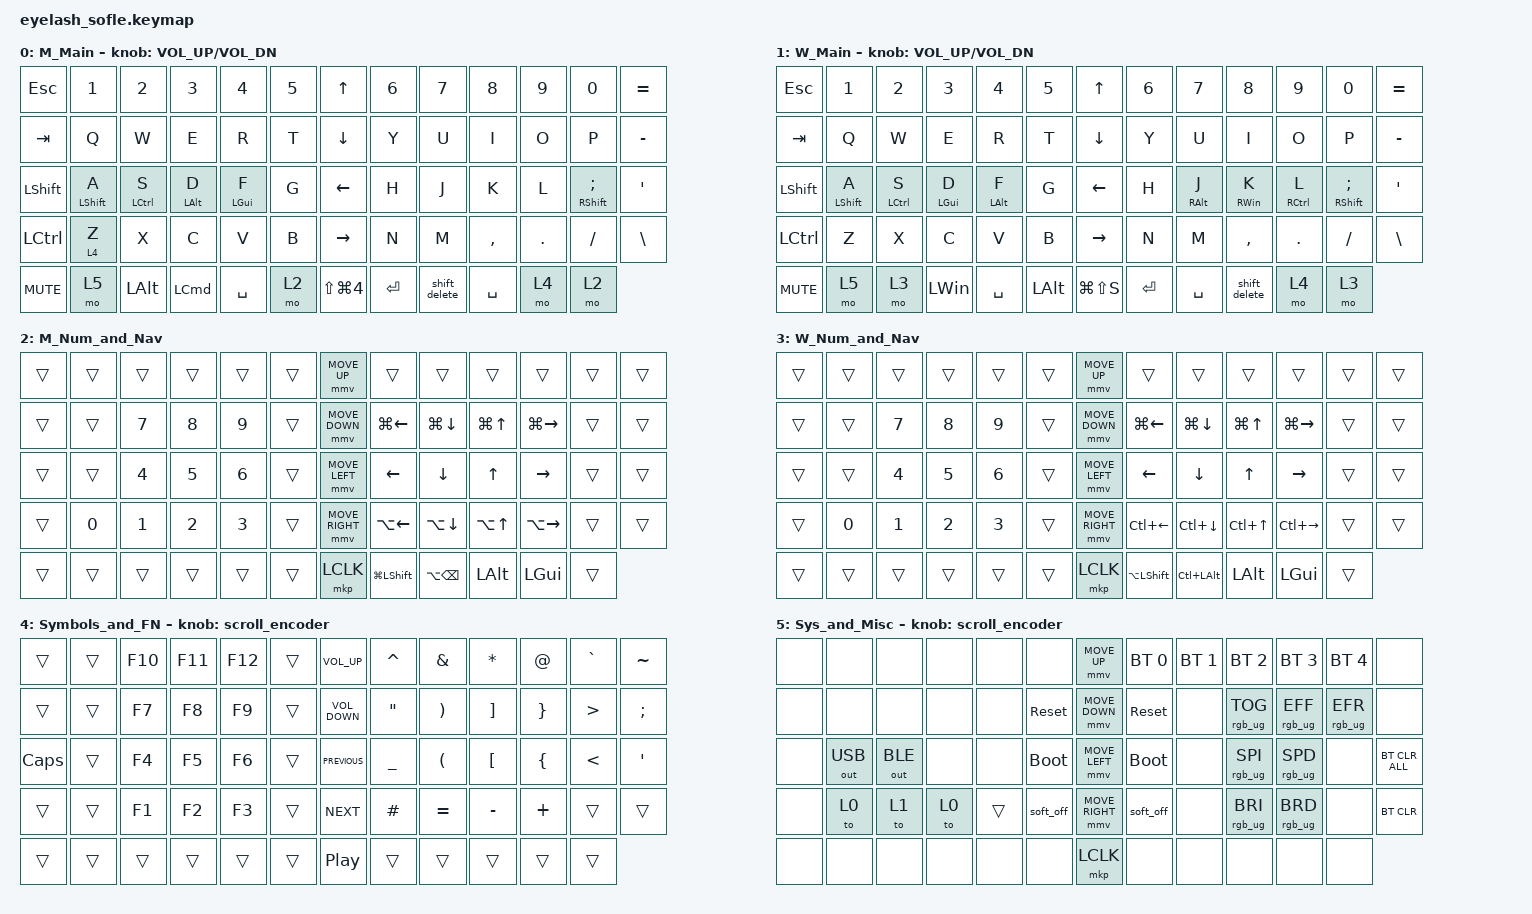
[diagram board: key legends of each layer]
#define ZMK_POINTING_DEFAULT_MOVE_VAL 1200  // 600
#define ZMK_POINTING_DEFAULT_SCRL_VAL 25   // 10

#include <input/processors.dtsi>
#include <zephyr/dt-bindings/input/input-event-codes.h>
#include <behaviors.dtsi>
#include <dt-bindings/zmk/bt.h>
#include <dt-bindings/zmk/keys.h>
#include <dt-bindings/zmk/outputs.h>
#include <dt-bindings/zmk/pointing.h>
#include <dt-bindings/zmk/rgb.h>

&mmv_input_listener { input-processors = <&zip_xy_scaler 2 1>; };

&msc_input_listener { input-processors = <&zip_scroll_scaler 2 1>; };

&msc {
    acceleration-exponent = <1>;      // 0
    time-to-max-speed-ms = <100>;       // 300
    delay-ms = <0>;                   // 0
};

&mmv {
    time-to-max-speed-ms = <500>;
    acceleration-exponent = <1>;
    trigger-period-ms = <16>;
};

&soft_off { hold-time-ms = <2000>; };

&mt {
    flavor = "tap-preferred";
    tapping-term-ms = <200>;
};

/ {
    scroll_encoder: scroll_encoder {
        compatible = "zmk,behavior-sensor-rotate";
        #sensor-binding-cells = <0>;
        bindings = <&msc SCRL_DOWN>, <&msc SCRL_UP>;

        tap-ms = <100>;
    };

    shift_delete: shift_delete {
        compatible = "zmk,behavior-mod-morph";
        label = "SHIFT_DELETE";
        bindings = <&kp BACKSPACE>, <&kp DELETE>;

        #binding-cells = <0>;
        mods = <(MOD_LSFT|MOD_RSFT)>;
    };

    behaviors {
    };

    combos {
        compatible = "zmk,combos";

        softoff {
            bindings = <&soft_off>;
            key-positions = <14 28 40>;
        };
    };

    keymap {
        compatible = "zmk,keymap";

        M_Main {
            display-name = "M_Main";
            bindings = <
&kp ESC           &kp N1            &kp N2              &kp N3            &kp N4          &kp N5    &kp UP_ARROW          &kp N6     &kp N7         &kp N8     &kp N9   &kp N0                     &kp EQUAL
&kp TAB           &kp Q             &kp W               &kp E             &kp R           &kp T     &kp DOWN_ARROW        &kp Y      &kp U          &kp I      &kp O    &kp P                      &kp MINUS
&kp LEFT_SHIFT    &mt LEFT_SHIFT A  &mt LEFT_CONTROL S  &mt LEFT_ALT D    &mt LEFT_GUI F  &kp G     &kp LEFT_ARROW        &kp H      &kp J          &kp K      &kp L    &mt RIGHT_SHIFT SEMICOLON  &kp APOS
&kp LEFT_CONTROL  &lt 4 Z           &kp X               &kp C             &kp V           &kp B     &kp RIGHT_ARROW       &kp N      &kp M          &kp COMMA  &kp DOT  &kp SLASH                  &kp BACKSLASH
&kp C_MUTE        &mo 5             &kp LEFT_ALT        &kp LEFT_COMMAND  &kp SPACE       &mo 2     &kp LS(LG(NUMBER_4))  &kp ENTER  &shift_delete  &kp SPACE  &mo 4    &mo 2
            >;

            sensor-bindings = <&inc_dec_kp C_VOLUME_UP C_VOL_DN>;
        };

        W_Main {
            display-name = "W_Main";
            bindings = <
&kp ESC           &kp N1            &kp N2              &kp N3          &kp N4          &kp N5          &kp UP_ARROW     &kp N6     &kp N7           &kp N8           &kp N9               &kp N0                &kp EQUAL
&kp TAB           &kp Q             &kp W               &kp E           &kp R           &kp T           &kp DOWN_ARROW   &kp Y      &kp U            &kp I            &kp O                &kp P                 &kp MINUS
&kp LEFT_SHIFT    &mt LEFT_SHIFT A  &mt LEFT_CONTROL S  &mt LEFT_GUI D  &mt LEFT_ALT F  &kp G           &kp LEFT_ARROW   &kp H      &mt RIGHT_ALT J  &mt RIGHT_WIN K  &mt RIGHT_CONTROL L  &mt RIGHT_SHIFT SEMI  &kp APOS
&kp LEFT_CONTROL  &kp Z             &kp X               &kp C           &kp V           &kp B           &kp RIGHT_ARROW  &kp N      &kp M            &kp COMMA        &kp DOT              &kp FSLH              &kp BACKSLASH
&kp C_MUTE        &mo 5             &mo 3               &kp LEFT_WIN    &kp SPACE       &kp LEFT_ALT    &kp LG(LS(S))    &kp ENTER  &kp SPACE        &shift_delete    &mo 4                &mo 3
            >;

            sensor-bindings = <&inc_dec_kp C_VOLUME_UP C_VOL_DN>;
        };

        M_Num_and_Nav {
            bindings = <
&trans  &trans  &trans  &trans  &trans  &trans    &mmv MOVE_UP     &trans         &trans             &trans      &trans         &trans  &trans
&trans  &trans  &kp N7  &kp N8  &kp N9  &trans    &mmv MOVE_DOWN   &kp LG(LEFT)   &kp LG(DOWN)       &kp LG(UP)  &kp LG(RIGHT)  &trans  &trans
&trans  &trans  &kp N4  &kp N5  &kp N6  &trans    &mmv MOVE_LEFT   &kp LEFT       &kp DOWN           &kp UP      &kp RIGHT      &trans  &trans
&trans  &kp N0  &kp N1  &kp N2  &kp N3  &trans    &mmv MOVE_RIGHT  &kp LA(LEFT)   &kp LA(DOWN)       &kp LA(UP)  &kp LA(RIGHT)  &trans  &trans
&trans  &trans  &trans  &trans  &trans  &trans    &mkp LCLK        &kp LG(LSHFT)  &kp LA(BACKSPACE)  &kp LALT    &kp LGUI       &trans
            >;

            label = "M_Num_and_Nav";
        };

        W_Num_and_Nav {
            label = "W_Num_and_Nav";
            bindings = <
&trans  &trans  &trans  &trans  &trans  &trans    &mmv MOVE_UP     &trans              &trans        &trans        &trans         &trans  &trans
&trans  &trans  &kp N7  &kp N8  &kp N9  &trans    &mmv MOVE_DOWN   &kp LG(LEFT)        &kp LG(DOWN)  &kp LG(UP)    &kp LG(RIGHT)  &trans  &trans
&trans  &trans  &kp N4  &kp N5  &kp N6  &trans    &mmv MOVE_LEFT   &kp LEFT            &kp DOWN      &kp UP_ARROW  &kp RIGHT      &trans  &trans
&trans  &kp N0  &kp N1  &kp N2  &kp N3  &trans    &mmv MOVE_RIGHT  &kp LC(LEFT_ARROW)  &kp LC(DOWN)  &kp LC(UP)    &kp LC(RIGHT)  &trans  &trans
&trans  &trans  &trans  &trans  &trans  &trans    &mkp LCLK        &kp LA(LSHFT)       &kp LC(LALT)  &kp LALT      &kp LGUI       &trans
            >;
        };

        Symbols_and_FN {
            bindings = <
&trans        &trans  &kp F10  &kp F11  &kp F12  &trans    &kp C_VOLUME_UP    &kp CARET          &kp AMPERSAND          &kp ASTERISK       &kp AT           &kp GRAVE         &kp TILDE
&trans        &trans  &kp F7   &kp F8   &kp F9   &trans    &kp C_VOLUME_DOWN  &kp DOUBLE_QUOTES  &kp RIGHT_PARENTHESIS  &kp RIGHT_BRACKET  &kp RIGHT_BRACE  &kp GREATER_THAN  &kp SEMICOLON
&kp CAPSLOCK  &trans  &kp F4   &kp F5   &kp F6   &trans    &kp C_PREVIOUS     &kp UNDERSCORE     &kp LEFT_PARENTHESIS   &kp LEFT_BRACKET   &kp LEFT_BRACE   &kp LESS_THAN     &kp APOSTROPHE
&trans        &trans  &kp F1   &kp F2   &kp F3   &trans    &kp C_NEXT         &kp HASH           &kp EQUAL              &kp MINUS          &kp PLUS         &trans            &trans
&trans        &trans  &trans   &trans   &trans   &trans    &kp C_PLAY_PAUSE   &trans             &trans                 &trans             &trans           &trans
            >;

            display-name = "Symbols_and_FN";
            sensor-bindings = <&scroll_encoder>;
        };

        Sys_and_Misc {
            bindings = <
&none  &none         &none         &none  &none   &none          &mmv MOVE_UP     &bt BT_SEL 0  &bt BT_SEL 1  &bt BT_SEL 2     &bt BT_SEL 3     &bt BT_SEL 4     &none
&none  &none         &none         &none  &none   &sys_reset     &mmv MOVE_DOWN   &sys_reset    &none         &rgb_ug RGB_TOG  &rgb_ug RGB_EFF  &rgb_ug RGB_EFR  &none
&none  &out OUT_USB  &out OUT_BLE  &none  &none   &bootloader    &mmv MOVE_LEFT   &bootloader   &none         &rgb_ug RGB_SPI  &rgb_ug RGB_SPD  &none            &bt BT_CLR_ALL
&none  &to 0         &to 1         &to 0  &trans  &soft_off      &mmv MOVE_RIGHT  &soft_off     &none         &rgb_ug RGB_BRI  &rgb_ug RGB_BRD  &none            &bt BT_CLR
&none  &none         &none         &none  &none   &none          &mkp LCLK        &none         &none         &none            &none            &none
            >;

            display-name = "Sys_and_Misc";
            sensor-bindings = <&scroll_encoder>;
        };
    };
};
